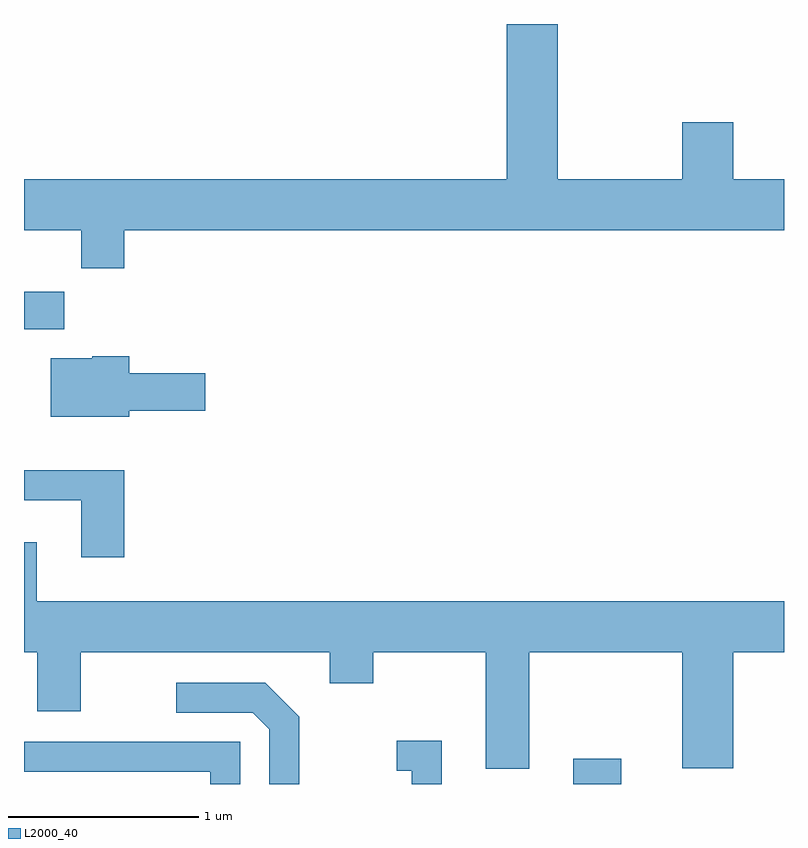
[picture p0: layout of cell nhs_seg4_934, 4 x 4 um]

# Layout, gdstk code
import gdstk
lib = gdstk.Library(unit=1e-6, precision=1e-09)
def R(c, l, rs):  # rectangles x0, y0, x1, y1
    for r in rs: c.add(gdstk.rectangle(r[:2], r[2:], *l))
def P(c, l, *ps):  # polygons
    for p in ps: c.add(gdstk.Polygon(p, *l))
L2000_40 = (2000, 40)

nhs_seg4_934 = lib.new_cell('nhs_seg4_934')
R(nhs_seg4_934, L2000_40, [(214.501,1353.982,214.754,1354.114), (211.611,1356.376,211.824,1356.574)])
P(nhs_seg4_934, L2000_40, [(212.139,1356.896),(215.611,1356.896),(215.611,1357.164),(215.344,1357.164),(215.344,1357.464),(215.076,1357.464),(215.076,1357.164),(214.419,1357.164),(214.419,1357.982),(214.151,1357.982),(214.151,1357.164),(211.611,1357.164),(211.611,1356.896),(211.911,1356.896),(211.911,1356.696),(212.139,1356.696)],
  [(212.164,1355.946),(212.564,1355.946),(212.564,1356.144),(212.164,1356.144),(212.164,1356.234),(211.97,1356.234),(211.97,1356.224),(211.751,1356.224),(211.751,1355.916),(212.164,1355.916)],
  [(212.139,1355.634),(211.611,1355.634),(211.611,1355.476),(211.911,1355.476),(211.911,1355.176),(212.139,1355.176)],
  [(211.679,1355.254),(211.611,1355.254),(211.611,1354.676),(211.681,1354.676),(211.681,1354.366),(211.909,1354.366),(211.909,1354.676),(213.221,1354.676),(213.221,1354.511),(213.449,1354.511),(213.449,1354.676),(214.041,1354.676),(214.041,1354.061),(214.269,1354.061),(214.269,1354.676),(215.076,1354.676),(215.076,1354.066),(215.344,1354.066),(215.344,1354.676),(215.611,1354.676),(215.611,1354.944),(211.679,1354.944)],
  [(213.059,1354.337),(212.882,1354.514),(212.413,1354.514),(212.413,1354.356),(212.814,1354.356),(212.901,1354.269),(212.901,1353.982),(213.059,1353.982)],
  [(213.809,1354.209),(213.573,1354.209),(213.573,1354.051),(213.651,1354.051),(213.651,1353.982),(213.809,1353.982)],
  [(212.749,1354.204),(211.611,1354.204),(211.611,1354.046),(212.591,1354.046),(212.591,1353.982),(212.749,1353.982)])

lib.write_gds('nhs_seg4_934.gds')
